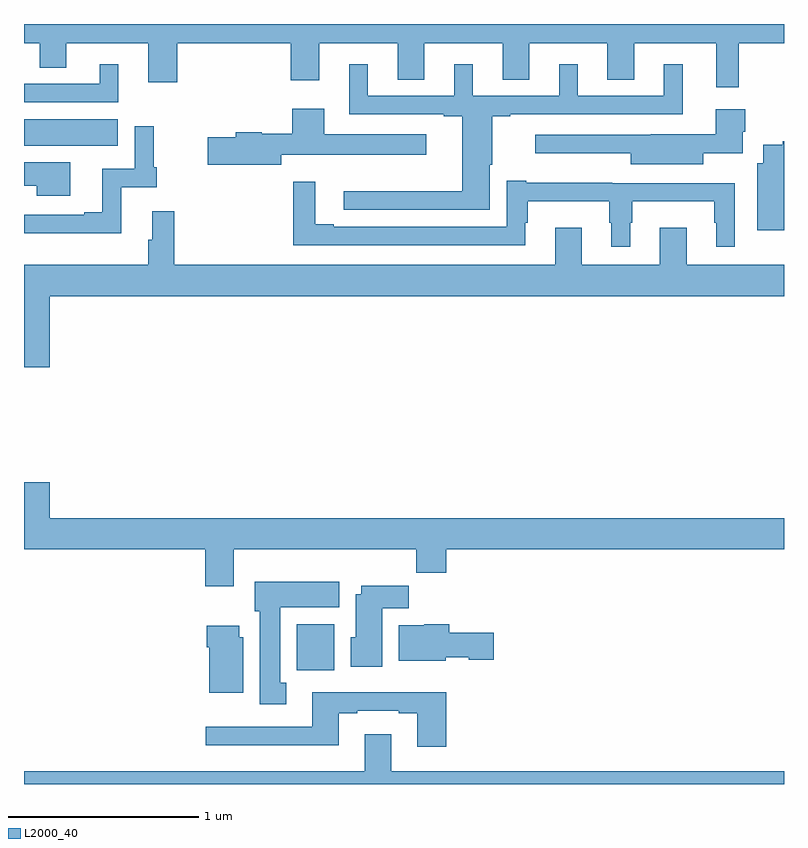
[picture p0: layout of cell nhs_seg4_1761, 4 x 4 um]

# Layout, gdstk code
import gdstk
lib = gdstk.Library(unit=1e-6, precision=1e-09)
def R(c, l, rs):  # rectangles x0, y0, x1, y1
    for r in rs: c.add(gdstk.rectangle(r[:2], r[2:], *l))
def P(c, l, *ps):  # polygons
    for p in ps: c.add(gdstk.Polygon(p, *l))
L2000_40 = (2000, 40)

nhs_seg4_1761 = lib.new_cell('nhs_seg4_1761')
R(nhs_seg4_1761, L2000_40, [(202.436,813.5,202.633,813.742), (201,816.26,201.493,816.4)])
P(nhs_seg4_1761, L2000_40, [(204.761,816.8),(205,816.8),(205,816.9),(201,816.9),(201,816.8),(201.083,816.8),(201.083,816.67),(201.223,816.67),(201.223,816.8),(201.653,816.8),(201.653,816.594),(201.806,816.594),(201.806,816.8),(202.403,816.8),(202.403,816.603),(202.555,816.603),(202.555,816.8),(202.967,816.8),(202.967,816.607),(203.107,816.607),(203.107,816.8),(203.519,816.8),(203.519,816.607),(203.659,816.607),(203.659,816.8),(204.071,816.8),(204.071,816.607),(204.211,816.607),(204.211,816.8),(204.644,816.8),(204.644,816.567),(204.761,816.567)],
  [(203.452,816.159),(203.464,816.159),(203.464,816.414),(203.56,816.414),(203.56,816.426),(204.467,816.426),(204.467,816.688),(204.368,816.688),(204.368,816.522),(203.914,816.522),(203.914,816.688),(203.816,816.688),(203.816,816.522),(203.362,816.522),(203.362,816.688),(203.264,816.688),(203.264,816.522),(202.81,816.522),(202.81,816.688),(202.712,816.688),(202.712,816.426),(203.21,816.426),(203.21,816.414),(203.306,816.414),(203.306,816.02),(202.683,816.02),(202.683,815.922),(203.452,815.922)],
  [(201.496,816.688),(201.398,816.688),(201.398,816.585),(201,816.585),(201,816.489),(201.496,816.489)],
  [(202.354,816.212),(203.116,816.212),(203.116,816.319),(202.579,816.319),(202.579,816.454),(202.412,816.454),(202.412,816.322),(202.25,816.322),(202.25,816.33),(202.115,816.33),(202.115,816.305),(201.966,816.305),(201.966,816.158),(202.354,816.158)],
  [(204.574,816.221),(204.784,816.221),(204.784,816.332),(204.797,816.332),(204.797,816.451),(204.641,816.451),(204.641,816.321),(204.298,816.321),(204.298,816.318),(203.691,816.318),(203.691,816.221),(204.194,816.221),(204.194,816.161),(204.574,816.161)],
  [(201.511,816.042),(201.698,816.042),(201.698,816.145),(201.683,816.145),(201.683,816.361),(201.582,816.361),(201.582,816.138),(201.413,816.138),(201.413,815.908),(201.317,815.908),(201.317,815.895),(201,815.895),(201,815.798),(201.511,815.798)],
  [(205,816.284),(204.994,816.284),(204.994,816.264),(204.89,816.264),(204.89,816.166),(204.86,816.166),(204.86,815.814),(205,815.814)],
  [(201.244,816.172),(201,816.172),(201,816.05),(201.068,816.05),(201.068,815.996),(201.244,815.996)],
  [(204.19,815.855),(204.202,815.855),(204.202,815.966),(204.633,815.966),(204.633,815.855),(204.644,815.855),(204.644,815.727),(204.741,815.727),(204.741,816.063),(204.096,816.063),(204.096,816.064),(203.644,816.064),(203.644,816.076),(203.541,816.076),(203.541,815.832),(202.63,815.832),(202.63,815.845),(202.534,815.845),(202.534,816.07),(202.417,816.07),(202.417,815.736),(203.638,815.736),(203.638,815.855),(203.65,815.855),(203.65,815.966),(204.081,815.966),(204.081,815.855),(204.092,815.855),(204.092,815.727),(204.19,815.727)],
  [(201.136,815.468),(205,815.468),(205,815.632),(204.487,815.632),(204.487,815.827),(204.347,815.827),(204.347,815.632),(203.935,815.632),(203.935,815.827),(203.795,815.827),(203.795,815.632),(201.791,815.632),(201.791,815.914),(201.674,815.914),(201.674,815.765),(201.655,815.765),(201.655,815.632),(201,815.632),(201,815.094),(201.136,815.094)],
  [(202.105,814.136),(203.065,814.136),(203.065,814.012),(203.222,814.012),(203.222,814.136),(205,814.136),(205,814.3),(201.136,814.3),(201.136,814.489),(201,814.489),(201,814.136),(201.953,814.136),(201.953,813.942),(202.105,813.942)],
  [(202.381,813.434),(202.348,813.434),(202.348,813.83),(202.66,813.83),(202.66,813.964),(202.214,813.964),(202.214,813.81),(202.241,813.81),(202.241,813.321),(202.381,813.321)],
  [(202.885,813.824),(203.024,813.824),(203.024,813.943),(202.775,813.943),(202.775,813.898),(202.745,813.898),(202.745,813.672),(202.721,813.672),(202.721,813.518),(202.885,813.518)],
  [(203.22,813.566),(203.34,813.566),(203.34,813.554),(203.473,813.554),(203.473,813.696),(203.237,813.696),(203.237,813.742),(203.106,813.742),(203.106,813.736),(202.973,813.736),(202.973,813.548),(203.22,813.548)],
  [(202.153,813.672),(202.132,813.672),(202.132,813.733),(201.962,813.733),(201.962,813.62),(201.974,813.62),(201.974,813.38),(202.153,813.38)],
  [(203.222,813.382),(202.517,813.382),(202.517,813.201),(201.957,813.201),(201.957,813.104),(202.657,813.104),(202.657,813.273),(202.753,813.273),(202.753,813.285),(202.973,813.285),(202.973,813.273),(203.069,813.273),(203.069,813.096),(203.222,813.096)],
  [(205,812.968),(202.933,812.968),(202.933,813.163),(202.793,813.163),(202.793,812.968),(201,812.968),(201,812.9),(205,812.9)])

lib.write_gds('nhs_seg4_1761.gds')
